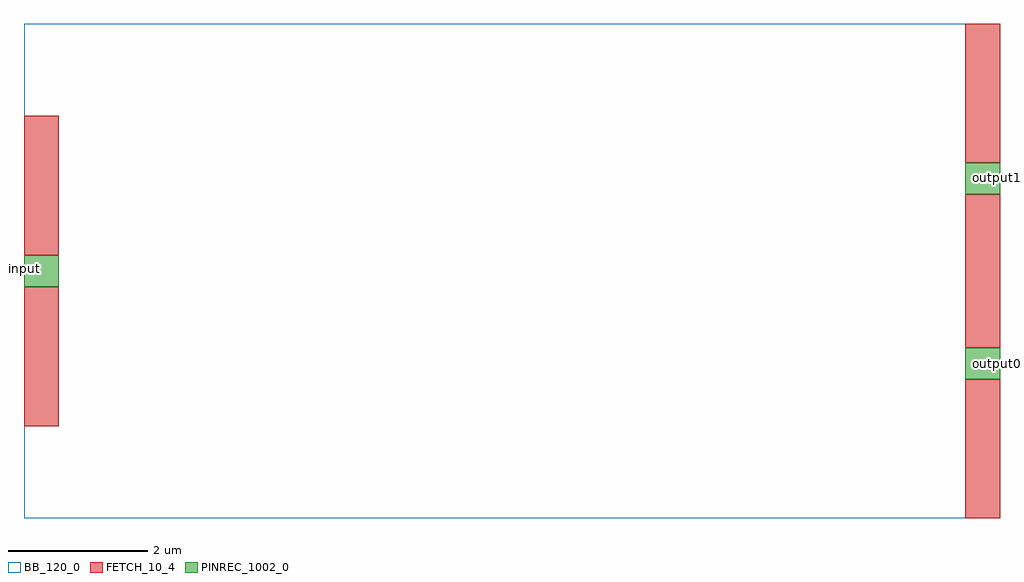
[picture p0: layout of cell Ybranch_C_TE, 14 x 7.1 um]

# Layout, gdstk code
import gdstk
lib = gdstk.Library(unit=1e-6, precision=1e-09)
def R(c, l, rs):  # rectangles x0, y0, x1, y1
    for r in rs: c.add(gdstk.rectangle(r[:2], r[2:], *l))
FETCH_10_4 = (10, 4)
BB_120_0 = (120, 0)
PINREC_1002_0 = (1002, 0)

ybranch_c_te = lib.new_cell('Ybranch_C_TE')
R(ybranch_c_te, FETCH_10_4, [(13.5,0,14,2), (0,1.325,0.5,3.325), (13.5,2.45,14,4.65), (0,3.775,0.5,5.775), (13.5,5.1,14,7.1)])
R(ybranch_c_te, BB_120_0, [(0,0,14,7.1)])
R(ybranch_c_te, PINREC_1002_0, [(13.5,2,14,2.45), (0,3.325,0.5,3.775), (13.5,4.65,14,5.1)])
ybranch_c_te.add(gdstk.Label('output1', (14,4.894), layer=1000, texttype=0))
ybranch_c_te.add(gdstk.Label('output0', (14,2.219), layer=1000, texttype=0))
ybranch_c_te.add(gdstk.Label('input', (0,3.581), layer=1000, texttype=0))

lib.write_gds('Ybranch_C_TE.gds')
